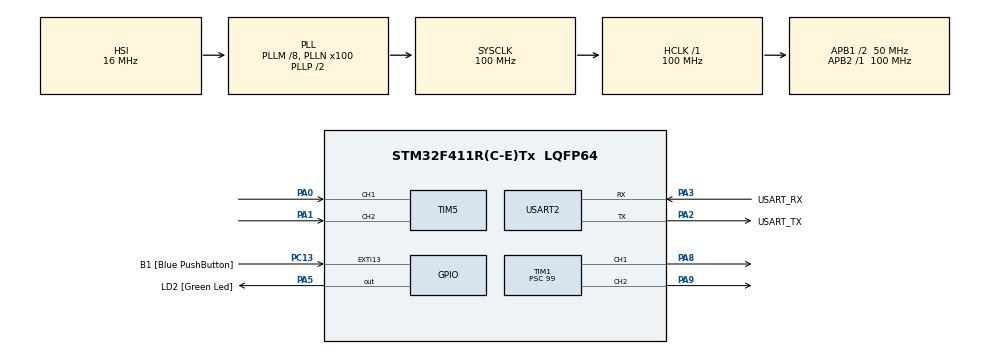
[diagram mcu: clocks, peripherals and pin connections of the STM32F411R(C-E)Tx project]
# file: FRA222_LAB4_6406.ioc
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Mcu.Family=STM32F4
Mcu.Name=STM32F411R(C-E)Tx
Mcu.Package=LQFP64
Mcu.UserConstants=QEI_PERIOD,61440
NVIC.PriorityGroup=NVIC_PRIORITYGROUP_0
NVIC.TIM2_IRQn=true\:0\:0\:false\:false\:true\:true\:true\:true
PA0-WKUP.Signal=S_TIM5_CH1
PA1.Signal=S_TIM5_CH2
PA13.GPIO_Label=TMS
PA13.Mode=Trace_Asynchronous_SW
PA13.Signal=SYS_JTMS-SWDIO
PA14.GPIO_Label=TCK
PA14.Mode=Trace_Asynchronous_SW
PA14.Signal=SYS_JTCK-SWCLK
PA2.GPIO_Label=USART_TX
PA2.Mode=Asynchronous
PA2.Signal=USART2_TX
PA3.GPIO_Label=USART_RX
PA3.Mode=Asynchronous
PA3.Signal=USART2_RX
PA5.GPIO_Label=LD2 [Green Led]
PA5.Signal=GPIO_Output
PA8.Signal=S_TIM1_CH1
PA9.Signal=S_TIM1_CH2
PB3.GPIO_Label=SWO
PB3.Mode=Trace_Asynchronous_SW
PB3.Signal=SYS_JTDO-SWO
PC13-ANTI_TAMP.GPIO_Label=B1 [Blue PushButton]
PC13-ANTI_TAMP.GPIO_ModeDefaultEXTI=GPIO_MODE_IT_FALLING
PC13-ANTI_TAMP.Signal=GPXTI13
PC14-OSC32_IN.Mode=LSE-External-Oscillator
PC14-OSC32_IN.Signal=RCC_OSC32_IN
PC15-OSC32_OUT.Mode=LSE-External-Oscillator
PC15-OSC32_OUT.Signal=RCC_OSC32_OUT
PH0\ -\ OSC_IN.Mode=HSE-External-Clock-Source
PH0\ -\ OSC_IN.Signal=RCC_OSC_IN
PH1\ -\ OSC_OUT.Mode=HSE-External-Clock-Source
PH1\ -\ OSC_OUT.Signal=RCC_OSC_OUT
ProjectManager.HeapSize=0x200
ProjectManager.StackSize=0x400
ProjectManager.TargetToolchain=STM32CubeIDE
RCC.48MHZClocksFreq_Value=50000000
RCC.AHBFreq_Value=100000000
RCC.APB1CLKDivider=RCC_HCLK_DIV2
RCC.APB1Freq_Value=50000000
RCC.APB1TimFreq_Value=100000000
RCC.APB2Freq_Value=100000000
RCC.APB2TimFreq_Value=100000000
RCC.CortexFreq_Value=100000000
RCC.FLatency-AdvancedSettings=FLASH_LATENCY_3
RCC.HCLKFreq_Value=100000000
RCC.HSE_VALUE=8000000
RCC.HSI_VALUE=16000000
RCC.PLLM=8
RCC.PLLN=100
RCC.SYSCLKFreq_VALUE=100000000
RCC.SYSCLKSource=RCC_SYSCLKSOURCE_PLLCLK
RCC.VCOOutputFreq_Value=200000000
SH.S_TIM1_CH1.0=TIM1_CH1,PWM Generation1 CH1
SH.S_TIM1_CH2.0=TIM1_CH2,PWM Generation2 CH2
SH.S_TIM5_CH1.0=TIM5_CH1,Encoder_Interface
SH.S_TIM5_CH2.0=TIM5_CH2,Encoder_Interface
TIM1.Channel-PWM\ Generation1\ CH1=TIM_CHANNEL_1
TIM1.Channel-PWM\ Generation2\ CH2=TIM_CHANNEL_2
TIM1.Period=999
TIM1.Prescaler=99
TIM1.Pulse-PWM\ Generation1\ CH1=0
TIM2.Period=99
TIM2.Prescaler=9999
TIM5.EncoderMode=TIM_ENCODERMODE_TI12
USART2.VirtualMode=VM_ASYNC
VP_TIM1_VS_ClockSourceINT.Mode=Internal
VP_TIM2_VS_ClockSourceINT.Mode=Internal
board=NUCLEO-F411RE

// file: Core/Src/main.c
/* USER CODE BEGIN Header */
/**
 ******************************************************************************
 * @file           : main.c
 * @brief          : Main program body
 ******************************************************************************
 * @attention
 *
 * Copyright (c) 2023 STMicroelectronics.
 * All rights reserved.
 *
 * This software is licensed under terms that can be found in the LICENSE file
 * in the root directory of this software component.
 * If no LICENSE file comes with this software, it is provided AS-IS.
 *
 ******************************************************************************
 */
/* USER CODE END Header */
#include "main.h"

TIM_HandleTypeDef htim1;
TIM_HandleTypeDef htim2;
TIM_HandleTypeDef htim5;

UART_HandleTypeDef huart2;

/* USER CODE BEGIN PV */
// Motor Variables
int32_t QEIReadRaw;
uint8_t motorDirection = 0; // 1 = CCW, 0 = CW
float duty;
// PID Variables
float kp = 10;
float ki = 0.00029;
float kd = 0.001;
float deltaT = 0.001;
float eintegral = 0;
float errorPrevious = 0;
// Position Variables
float targetPosition = 0;
float actualPosition;
float gTargetPosition = 0;
float errorPosition = 0;
float gActualPosition;
/* USER CODE END PV */

void SystemClock_Config(void);
static void MX_GPIO_Init(void);
static void MX_USART2_UART_Init(void);
static void MX_TIM1_Init(void);
static void MX_TIM2_Init(void);
static void MX_TIM5_Init(void);
/* USER CODE BEGIN PFP */
void controllerPID();
void setMotor();
/* USER CODE END PFP */

int main(void)
{

  /* MCU Configuration--------------------------------------------------------*/

  /* Reset of all peripherals, Initializes the Flash interface and the Systick. */
  HAL_Init();

  /* Configure the system clock */
  SystemClock_Config();

  /* Initialize all configured peripherals */
  MX_GPIO_Init();
  MX_USART2_UART_Init();
  MX_TIM1_Init();
  MX_TIM2_Init();
  MX_TIM5_Init();
  /* USER CODE BEGIN 2 */
	HAL_TIM_Encoder_Start(&htim5, TIM_CHANNEL_1 | TIM_CHANNEL_2);
	HAL_TIM_Encoder_Start(&htim5, TIM_CHANNEL_1 | TIM_CHANNEL_2);

	HAL_TIM_Base_Start(&htim1);
	HAL_TIM_PWM_Start(&htim1, TIM_CHANNEL_1);
	HAL_TIM_PWM_Start(&htim1, TIM_CHANNEL_2);

	HAL_TIM_Base_Start_IT(&htim2);

  /* USER CODE END 2 */

  /* Infinite loop */
	while (1) {

	}
}

void SystemClock_Config(void)
{
  RCC_OscInitTypeDef RCC_OscInitStruct = {0};
  RCC_ClkInitTypeDef RCC_ClkInitStruct = {0};

  /** Configure the main internal regulator output voltage
  */
  __HAL_RCC_PWR_CLK_ENABLE();
  __HAL_PWR_VOLTAGESCALING_CONFIG(PWR_REGULATOR_VOLTAGE_SCALE1);

  /** Initializes the RCC Oscillators according to the specified parameters
  * in the RCC_OscInitTypeDef structure.
  */
  RCC_OscInitStruct.OscillatorType = RCC_OSCILLATORTYPE_HSI;
  RCC_OscInitStruct.HSIState = RCC_HSI_ON;
  RCC_OscInitStruct.HSICalibrationValue = RCC_HSICALIBRATION_DEFAULT;
  RCC_OscInitStruct.PLL.PLLState = RCC_PLL_ON;
  RCC_OscInitStruct.PLL.PLLSource = RCC_PLLSOURCE_HSI;
  RCC_OscInitStruct.PLL.PLLM = 8;
  RCC_OscInitStruct.PLL.PLLN = 100;
  RCC_OscInitStruct.PLL.PLLP = RCC_PLLP_DIV2;
  RCC_OscInitStruct.PLL.PLLQ = 4;
  if (HAL_RCC_OscConfig(&RCC_OscInitStruct) != HAL_OK)
  {
    Error_Handler();
  }

  /** Initializes the CPU, AHB and APB buses clocks
  */
  RCC_ClkInitStruct.ClockType = RCC_CLOCKTYPE_HCLK|RCC_CLOCKTYPE_SYSCLK
                              |RCC_CLOCKTYPE_PCLK1|RCC_CLOCKTYPE_PCLK2;
  RCC_ClkInitStruct.SYSCLKSource = RCC_SYSCLKSOURCE_PLLCLK;
  RCC_ClkInitStruct.AHBCLKDivider = RCC_SYSCLK_DIV1;
  RCC_ClkInitStruct.APB1CLKDivider = RCC_HCLK_DIV2;
  RCC_ClkInitStruct.APB2CLKDivider = RCC_HCLK_DIV1;

  if (HAL_RCC_ClockConfig(&RCC_ClkInitStruct, FLASH_LATENCY_3) != HAL_OK)
  {
    Error_Handler();
  }
}

static void MX_TIM1_Init(void)
{

  TIM_ClockConfigTypeDef sClockSourceConfig = {0};
  TIM_MasterConfigTypeDef sMasterConfig = {0};
  TIM_OC_InitTypeDef sConfigOC = {0};
  TIM_BreakDeadTimeConfigTypeDef sBreakDeadTimeConfig = {0};

  htim1.Instance = TIM1;
  htim1.Init.Prescaler = 99;
  htim1.Init.CounterMode = TIM_COUNTERMODE_UP;
  htim1.Init.Period = 999;
  htim1.Init.ClockDivision = TIM_CLOCKDIVISION_DIV1;
  htim1.Init.RepetitionCounter = 0;
  htim1.Init.AutoReloadPreload = TIM_AUTORELOAD_PRELOAD_DISABLE;
  if (HAL_TIM_Base_Init(&htim1) != HAL_OK)
  {
    Error_Handler();
  }
  sClockSourceConfig.ClockSource = TIM_CLOCKSOURCE_INTERNAL;
  if (HAL_TIM_ConfigClockSource(&htim1, &sClockSourceConfig) != HAL_OK)
  {
    Error_Handler();
  }
  if (HAL_TIM_PWM_Init(&htim1) != HAL_OK)
  {
    Error_Handler();
  }
  sMasterConfig.MasterOutputTrigger = TIM_TRGO_RESET;
  sMasterConfig.MasterSlaveMode = TIM_MASTERSLAVEMODE_DISABLE;
  if (HAL_TIMEx_MasterConfigSynchronization(&htim1, &sMasterConfig) != HAL_OK)
  {
    Error_Handler();
  }
  sConfigOC.OCMode = TIM_OCMODE_PWM1;
  sConfigOC.Pulse = 0;
  sConfigOC.OCPolarity = TIM_OCPOLARITY_HIGH;
  sConfigOC.OCNPolarity = TIM_OCNPOLARITY_HIGH;
  sConfigOC.OCFastMode = TIM_OCFAST_DISABLE;
  sConfigOC.OCIdleState = TIM_OCIDLESTATE_RESET;
  sConfigOC.OCNIdleState = TIM_OCNIDLESTATE_RESET;
  if (HAL_TIM_PWM_ConfigChannel(&htim1, &sConfigOC, TIM_CHANNEL_1) != HAL_OK)
  {
    Error_Handler();
  }
  if (HAL_TIM_PWM_ConfigChannel(&htim1, &sConfigOC, TIM_CHANNEL_2) != HAL_OK)
  {
    Error_Handler();
  }
  sBreakDeadTimeConfig.OffStateRunMode = TIM_OSSR_DISABLE;
  sBreakDeadTimeConfig.OffStateIDLEMode = TIM_OSSI_DISABLE;
  sBreakDeadTimeConfig.LockLevel = TIM_LOCKLEVEL_OFF;
  sBreakDeadTimeConfig.DeadTime = 0;
  sBreakDeadTimeConfig.BreakState = TIM_BREAK_DISABLE;
  sBreakDeadTimeConfig.BreakPolarity = TIM_BREAKPOLARITY_HIGH;
  sBreakDeadTimeConfig.AutomaticOutput = TIM_AUTOMATICOUTPUT_DISABLE;
  if (HAL_TIMEx_ConfigBreakDeadTime(&htim1, &sBreakDeadTimeConfig) != HAL_OK)
  {
    Error_Handler();
  }
  HAL_TIM_MspPostInit(&htim1);

}

static void MX_TIM2_Init(void)
{

  TIM_ClockConfigTypeDef sClockSourceConfig = {0};
  TIM_MasterConfigTypeDef sMasterConfig = {0};

  htim2.Instance = TIM2;
  htim2.Init.Prescaler = 9999;
  htim2.Init.CounterMode = TIM_COUNTERMODE_UP;
  htim2.Init.Period = 99;
  htim2.Init.ClockDivision = TIM_CLOCKDIVISION_DIV1;
  htim2.Init.AutoReloadPreload = TIM_AUTORELOAD_PRELOAD_DISABLE;
  if (HAL_TIM_Base_Init(&htim2) != HAL_OK)
  {
    Error_Handler();
  }
  sClockSourceConfig.ClockSource = TIM_CLOCKSOURCE_INTERNAL;
  if (HAL_TIM_ConfigClockSource(&htim2, &sClockSourceConfig) != HAL_OK)
  {
    Error_Handler();
  }
  sMasterConfig.MasterOutputTrigger = TIM_TRGO_RESET;
  sMasterConfig.MasterSlaveMode = TIM_MASTERSLAVEMODE_DISABLE;
  if (HAL_TIMEx_MasterConfigSynchronization(&htim2, &sMasterConfig) != HAL_OK)
  {
    Error_Handler();
  }

}

static void MX_TIM5_Init(void)
{

  TIM_Encoder_InitTypeDef sConfig = {0};
  TIM_MasterConfigTypeDef sMasterConfig = {0};

  htim5.Instance = TIM5;
  htim5.Init.Prescaler = 0;
  htim5.Init.CounterMode = TIM_COUNTERMODE_UP;
  htim5.Init.Period = 4294967295;
  htim5.Init.ClockDivision = TIM_CLOCKDIVISION_DIV1;
  htim5.Init.AutoReloadPreload = TIM_AUTORELOAD_PRELOAD_DISABLE;
  sConfig.EncoderMode = TIM_ENCODERMODE_TI12;
  sConfig.IC1Polarity = TIM_ICPOLARITY_RISING;
  sConfig.IC1Selection = TIM_ICSELECTION_DIRECTTI;
  sConfig.IC1Prescaler = TIM_ICPSC_DIV1;
  sConfig.IC1Filter = 0;
  sConfig.IC2Polarity = TIM_ICPOLARITY_RISING;
  sConfig.IC2Selection = TIM_ICSELECTION_DIRECTTI;
  sConfig.IC2Prescaler = TIM_ICPSC_DIV1;
  sConfig.IC2Filter = 0;
  if (HAL_TIM_Encoder_Init(&htim5, &sConfig) != HAL_OK)
  {
    Error_Handler();
  }
  sMasterConfig.MasterOutputTrigger = TIM_TRGO_RESET;
  sMasterConfig.MasterSlaveMode = TIM_MASTERSLAVEMODE_DISABLE;
  if (HAL_TIMEx_MasterConfigSynchronization(&htim5, &sMasterConfig) != HAL_OK)
  {
    Error_Handler();
  }

}

static void MX_USART2_UART_Init(void)
{

  huart2.Instance = USART2;
  huart2.Init.BaudRate = 115200;
  huart2.Init.WordLength = UART_WORDLENGTH_8B;
  huart2.Init.StopBits = UART_STOPBITS_1;
  huart2.Init.Parity = UART_PARITY_NONE;
  huart2.Init.Mode = UART_MODE_TX_RX;
  huart2.Init.HwFlowCtl = UART_HWCONTROL_NONE;
  huart2.Init.OverSampling = UART_OVERSAMPLING_16;
  if (HAL_UART_Init(&huart2) != HAL_OK)
  {
    Error_Handler();
  }

}

static void MX_GPIO_Init(void)
{
  GPIO_InitTypeDef GPIO_InitStruct = {0};

  /* GPIO Ports Clock Enable */
  __HAL_RCC_GPIOC_CLK_ENABLE();
  __HAL_RCC_GPIOH_CLK_ENABLE();
  __HAL_RCC_GPIOA_CLK_ENABLE();
  __HAL_RCC_GPIOB_CLK_ENABLE();

  /*Configure GPIO pin Output Level */
  HAL_GPIO_WritePin(LD2_GPIO_Port, LD2_Pin, GPIO_PIN_RESET);

  /*Configure GPIO pin : B1_Pin */
  GPIO_InitStruct.Pin = B1_Pin;
  GPIO_InitStruct.Mode = GPIO_MODE_IT_FALLING;
  GPIO_InitStruct.Pull = GPIO_NOPULL;
  HAL_GPIO_Init(B1_GPIO_Port, &GPIO_InitStruct);

  /*Configure GPIO pin : LD2_Pin */
  GPIO_InitStruct.Pin = LD2_Pin;
  GPIO_InitStruct.Mode = GPIO_MODE_OUTPUT_PP;
  GPIO_InitStruct.Pull = GPIO_NOPULL;
  GPIO_InitStruct.Speed = GPIO_SPEED_FREQ_LOW;
  HAL_GPIO_Init(LD2_GPIO_Port, &GPIO_InitStruct);

}

/* USER CODE BEGIN 4 */
// re-implement
int _write(int file, char *ptr, int len) {
	int i;

	for (i = 0; i < len; i++) {
		ITM_SendChar(*ptr++);
	}
	return len;
}

// timer call back
void HAL_TIM_PeriodElapsedCallback(TIM_HandleTypeDef *htim) {
	if (htim == &htim2) {
		// QEI
		QEIReadRaw = __HAL_TIM_GET_COUNTER(&htim5);
		controllerPID();
	}

}

void setMotor() {
	if (motorDirection) // motor CW
	{
		__HAL_TIM_SET_COMPARE(&htim1, TIM_CHANNEL_1, duty);
		__HAL_TIM_SET_COMPARE(&htim1, TIM_CHANNEL_2, 0);
	} else // motor CCW
	{
		__HAL_TIM_SET_COMPARE(&htim1, TIM_CHANNEL_1, 0);
		__HAL_TIM_SET_COMPARE(&htim1, TIM_CHANNEL_2, duty);
	}
}

// controller
void controllerPID() {
	actualPosition = QEIReadRaw;
	gTargetPosition = targetPosition * 8.5333;
	errorPosition = gTargetPosition - actualPosition;
	gActualPosition = actualPosition / 8.5333;
	if (targetPosition <= 36000 && targetPosition >= 0) {
		float dedt = (errorPosition-errorPrevious)/ deltaT;
		eintegral = eintegral + (errorPosition * deltaT);
		errorPrevious = errorPosition;
		duty = (kp * errorPosition) + (ki * eintegral)+ (kd * dedt);
		if (duty < 0) {
			motorDirection = 1;
			duty = (-1) * duty;
		} else {
			motorDirection = 0;
		}

		if (duty >= 1000) {
			duty = 1000;
		}

		if (duty <= 90) {
			duty = 0;
			eintegral = 0;
		}
		setMotor();
	} else {
		duty = 0;
		eintegral = 0;
	}

}
/* USER CODE END 4 */

void Error_Handler(void)
{
	__disable_irq();
	while (1) {
	}
}
